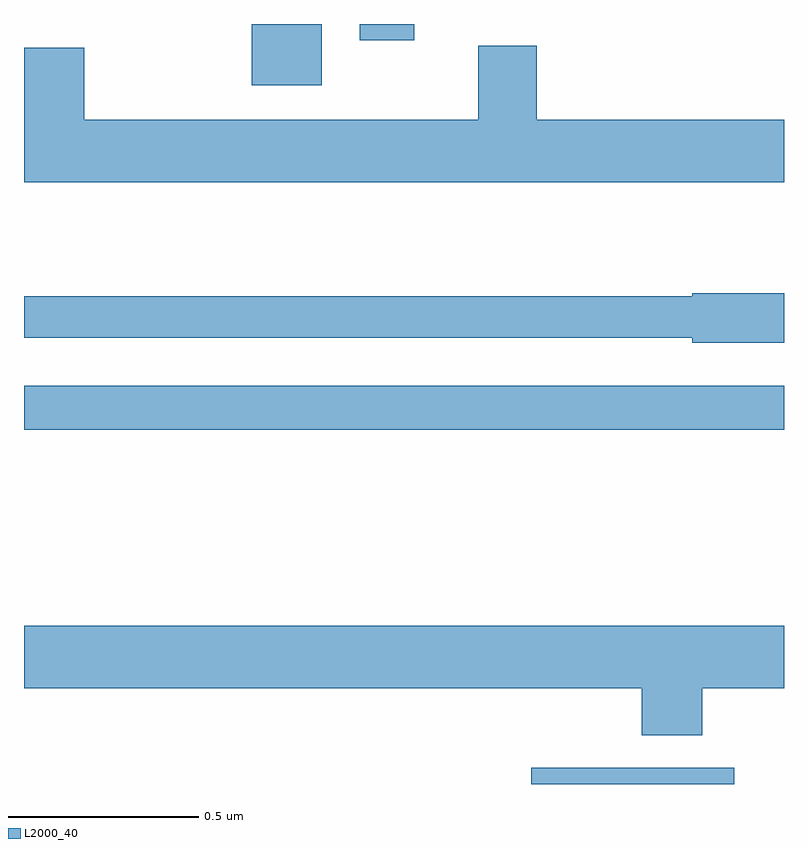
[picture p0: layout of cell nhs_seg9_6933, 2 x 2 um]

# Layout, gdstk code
import gdstk
lib = gdstk.Library(unit=1e-6, precision=1e-09)
def R(c, l, rs):  # rectangles x0, y0, x1, y1
    for r in rs: c.add(gdstk.rectangle(r[:2], r[2:], *l))
def P(c, l, *ps):  # polygons
    for p in ps: c.add(gdstk.Polygon(p, *l))
L2000_40 = (2000, 40)

nhs_seg9_6933 = lib.new_cell('nhs_seg9_6933')
R(nhs_seg9_6933, L2000_40, [(199.335,1197.5,199.869,1197.543), (198,1198.432,200,1198.548), (198.599,1199.339,198.784,1199.5), (198.884,1199.457,199.027,1199.5)])
P(nhs_seg9_6933, L2000_40, [(200,1199.248),(199.349,1199.248),(199.349,1199.443),(199.196,1199.443),(199.196,1199.248),(198.159,1199.248),(198.159,1199.437),(198,1199.437),(198,1199.084),(200,1199.084)],
  [(200,1198.791),(199.758,1198.791),(199.758,1198.783),(198,1198.783),(198,1198.674),(199.758,1198.674),(199.758,1198.661),(200,1198.661)],
  [(199.785,1197.752),(200,1197.752),(200,1197.916),(198,1197.916),(198,1197.752),(199.625,1197.752),(199.625,1197.628),(199.785,1197.628)])

lib.write_gds('nhs_seg9_6933.gds')
